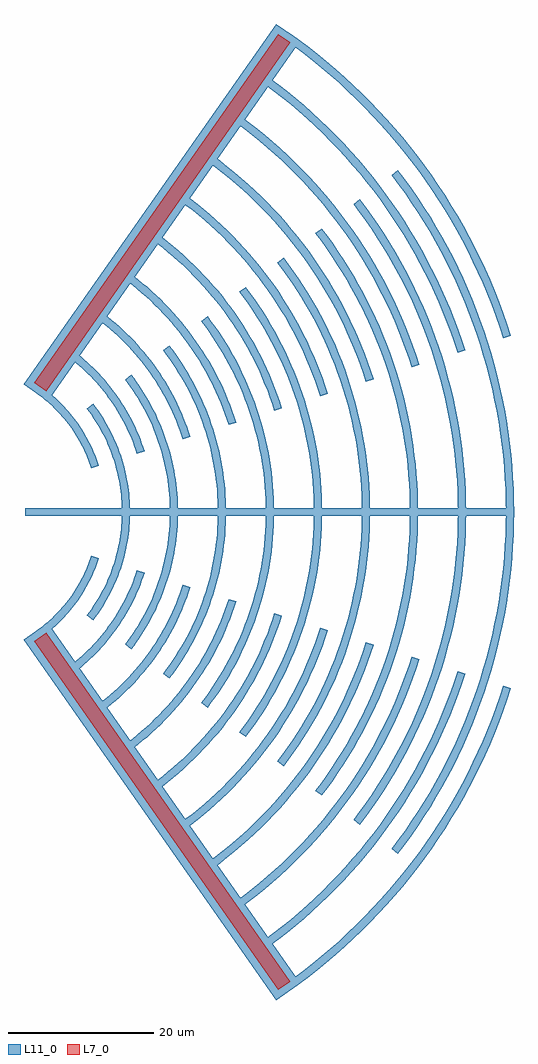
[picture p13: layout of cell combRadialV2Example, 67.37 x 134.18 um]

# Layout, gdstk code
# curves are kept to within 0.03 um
import gdstk
lib = gdstk.Library(unit=1e-6, precision=1e-09)
def R(c, l, rs):  # rectangles x0, y0, x1, y1
    for r in rs: c.add(gdstk.rectangle(r[:2], r[2:], *l))
def P(c, l, *ps):  # polygons
    for p in ps: c.add(gdstk.Polygon(p, *l))
L7_0 = (7, 0)
L11_0 = (11, 0)

combradialv2example = lib.new_cell('combRadialV2Example')
P(combradialv2example, L7_0, [(12.864,16.629),(11.226,17.775),(44.78,65.696),(46.419,64.549)],
  [(44.78,-65.696),(11.226,-17.775),(12.864,-16.629),(46.419,-64.549)])
R(combradialv2example, L11_0, [(10,-0.5,77.2,0.5), (10,-0.5,77.2,0.5)])
P(combradialv2example, L11_0, [(13.11,15.236),(9.833,17.53),(44.534,67.088),(47.812,64.795)],
  [(44.534,-67.088),(9.833,-17.53),(13.11,-15.236),(47.812,-64.795)],
  [(23.3,0),(23.222,1.904),(22.989,3.795),(22.602,5.661),(22.063,7.49),(21.378,9.268),(20.549,10.984),(19.582,12.626),(18.485,14.184),(19.358,14.854),(20.507,13.222),(21.031,12.372),(21.75,11.06),(22.184,10.161),(22.765,8.781),(23.261,7.369),(23.543,6.412),(23.988,4.466),(24.217,2.987),(24.354,1.496),(24.4,0)],
  [(19.074,6.014),(18.519,7.553),(17.84,9.041),(17.041,10.469),(16.129,11.826),(15.108,13.105),(13.987,14.296),(12.772,15.391),(11.472,16.383),(12.102,17.284),(13.804,15.958),(15.361,14.466),(16.757,12.822),(17.979,11.044),(18.622,9.921),(19.195,8.76),(19.696,7.567),(20.123,6.345)],
  [(29.9,0),(29.844,1.833),(29.594,4.266),(29.277,6.073),(28.849,7.857),(28.111,10.188),(27.671,11.329),(26.924,13.005),(26.076,14.631),(25.456,15.685),(24.446,17.217),(23.721,18.202),(24.594,18.872),(26.054,16.799),(26.719,15.719),(27.633,14.051),(28.184,12.909),(28.923,11.157),(29.355,9.965),(29.911,8.146),(30.354,6.296),(30.767,3.795),(30.942,1.901),(31,0)],
  [(25.369,7.999),(24.63,10.045),(23.727,12.024),(22.665,13.923),(21.451,15.729),(20.094,17.429),(18.603,19.013),(16.987,20.47),(15.257,21.789),(15.888,22.691),(17.25,21.674),(18.121,20.95),(18.963,20.191),(20.166,18.991),(21.292,17.718),(21.999,16.833),(23.301,14.979),(24.176,13.522),(25.2,11.501),(25.857,9.934),(26.418,8.33)],
  [(36.5,0),(36.469,1.493),(36.378,2.983),(36.127,5.208),(35.883,6.681),(35.58,8.143),(35.014,10.309),(34.563,11.733),(34.054,13.136),(33.489,14.518),(32.535,16.544),(31.832,17.861),(31.074,19.148),(29.842,21.017),(28.957,22.22),(29.83,22.889),(31.178,21.017),(32.011,19.725),(32.791,18.399),(33.516,17.043),(34.185,15.658),(35.081,13.532),(35.605,12.086),(36.069,10.62),(36.652,8.388),(37.098,6.125),(37.404,3.838),(37.569,1.538),(37.6,0)],
  [(43.1,0),(43.064,1.763),(42.956,3.522),(42.659,6.15),(42.202,8.754),(41.808,10.472),(41.345,12.173),(40.813,13.854),(40.212,15.511),(39.544,17.143),(38.418,19.536),(37.148,21.855),(36.223,23.356),(35.238,24.817),(34.194,26.238),(35.066,26.907),(36.137,25.451),(37.148,23.952),(38.547,21.629),(39.399,20.034),(40.185,18.406),(41.238,15.907),(41.854,14.208),(42.4,12.484),(43.086,9.861),(43.61,7.2),(43.868,5.411),(44.117,2.71),(44.2,0)],
  [(31.663,9.983),(30.742,12.538),(29.915,14.399),(28.638,16.796),(27.554,18.52),(25.949,20.71),(25.08,21.754),(23.699,23.251),(22.728,24.201),(21.202,25.549),(19.043,27.196),(19.674,28.097),(21.36,26.838),(22.439,25.942),(24.484,24.021),(26.365,21.94),(27.661,20.282),(28.467,19.134),(29.936,16.743),(30.906,14.876),(31.76,12.953),(32.495,10.981),(32.712,10.314)],
  [(49.7,0),(49.658,2.032),(49.534,4.062),(49.191,7.091),(48.664,10.094),(48.211,12.076),(47.676,14.038),(47.062,15.976),(46.37,17.887),(45.186,20.697),(44.301,22.527),(42.837,25.201),(41.77,26.932),(40.634,28.618),(39.43,30.255),(40.302,30.925),(41.533,29.251),(42.695,27.528),(43.785,25.759),(45.282,23.026),(46.609,20.206),(47.396,18.283),(48.104,16.329),(48.732,14.348),(49.278,12.343),(49.942,9.298),(50.418,6.218),(50.704,3.115),(50.8,0)],
  [(37.958,11.968),(37.153,14.273),(36.538,15.781),(35.862,17.262),(35.126,18.714),(34.331,20.135),(33.032,22.202),(31.608,24.186),(30.593,25.458),(29.526,26.688),(28.41,27.873),(26.648,29.563),(25.416,30.628),(24.143,31.641),(22.828,32.602),(23.459,33.503),(24.81,32.516),(26.119,31.474),(27.384,30.38),(29.195,28.643),(30.897,26.799),(31.967,25.513),(32.984,24.185),(33.945,22.815),(35.28,20.691),(36.483,18.489),(37.548,16.217),(38.471,13.884),(39.007,12.299)],
  [(56.3,0),(56.253,2.302),(56.112,4.601),(55.724,8.033),(55.349,10.305),(54.881,12.56),(54.322,14.794),(53.671,17.003),(52.931,19.184),(52.102,21.332),(51.186,23.445),(50.185,25.519),(49.099,27.55),(47.317,30.508),(46.03,32.418),(44.666,34.273),(45.538,34.943),(46.929,33.051),(48.242,31.105),(50.058,28.088),(51.165,26.017),(52.186,23.903),(53.12,21.749),(53.965,19.558),(54.72,17.335),(55.68,13.947),(56.204,11.658),(56.813,8.19),(57.208,4.691),(57.352,2.347),(57.4,0)],
  [(44.252,13.953),(43.314,16.64),(42.597,18.397),(41.809,20.124),(40.496,22.65),(39.536,24.287),(38.51,25.884),(37.419,27.437),(36.266,28.944),(35.052,30.403),(33.121,32.495),(31.765,33.822),(29.631,35.707),(28.146,36.888),(26.614,38.009),(27.245,38.91),(29.58,37.166),(31.075,35.925),(32.518,34.624),(33.907,33.265),(35.239,31.851),(36.512,30.383),(37.724,28.865),(39.423,26.497),(40.973,24.03),(42.37,21.472),(43.607,18.834),(44.34,17.035),(45.302,14.284)],
  [(62.9,0),(62.847,2.572),(62.69,5.14),(62.427,7.7),(62.06,10.246),(61.315,14.032),(60.69,16.528),(59.963,18.996),(59.136,21.432),(58.21,23.833),(57.187,26.193),(56.068,28.51),(54.855,30.779),(53.55,32.997),(52.156,35.159),(49.902,38.291),(50.775,38.961),(53.068,35.774),(54.487,33.574),(55.814,31.317),(57.048,29.009),(58.187,26.651),(59.228,24.25),(60.17,21.807),(61.012,19.328),(62.082,15.551),(62.666,12.999),(63.145,10.425),(63.666,6.534),(63.88,3.925),(64,0)],
  [(69.5,0),(69.442,2.842),(69.268,5.68),(68.977,8.508),(68.572,11.321),(68.051,14.116),(67.417,16.887),(66.255,20.989),(64.843,25.013),(63.766,27.644),(62.582,30.228),(61.294,32.762),(59.902,35.241),(58.411,37.661),(56.822,40.019),(55.138,42.309),(56.011,42.979),(57.721,40.652),(59.336,38.258),(60.851,35.799),(62.264,33.281),(63.573,30.707),(65.336,26.75),(66.375,24.056),(67.303,21.322),(68.119,18.551),(68.821,15.75),(69.128,14.339),(69.878,10.073),(70.231,7.207),(70.541,2.887),(70.6,0)],
  [(50.547,15.937),(49.853,17.991),(49.076,20.015),(47.756,22.987),(46.776,24.92),(45.718,26.812),(44.583,28.659),(43.374,30.459),(42.092,32.207),(40.038,34.727),(38.584,36.336),(37.066,37.883),(35.485,39.367),(33.846,40.786),(32.15,42.136),(30.4,43.415),(31.03,44.316),(32.817,43.01),(34.548,41.632),(36.222,40.184),(38.618,37.888),(40.135,36.277),(41.585,34.605),(42.965,32.875),(44.274,31.091),(46.097,28.317),(47.747,25.437),(49.217,22.462),(50.094,20.43),(50.888,18.365),(51.596,16.268)],
  [(76.1,0),(76.036,3.112),(75.845,6.219),(75.528,9.315),(75.084,12.396),(74.514,15.456),(74.182,16.977),(73.426,19.997),(72.547,22.983),(71.546,25.93),(70.426,28.834),(69.188,31.69),(67.834,34.493),(66.367,37.238),(65.591,38.588),(63.958,41.238),(62.218,43.819),(60.374,46.327),(61.247,46.996),(63.118,44.452),(64.883,41.834),(66.539,39.146),(68.084,36.392),(69.516,33.577),(70.831,30.706),(72.027,27.784),(73.103,24.815),(73.595,23.315),(74.487,20.286),(75.254,17.223),(75.591,15.68),(76.169,12.576),(76.41,11.015),(76.797,7.881),(77.055,4.734),(77.184,1.579),(77.2,0)],
  [(56.842,17.922),(55.636,21.374),(54.715,23.631),(53.703,25.849),(52.601,28.024),(51.411,30.151),(50.135,32.228),(48.775,34.252),(47.333,36.218),(45.813,38.123),(43.389,40.861),(41.681,42.601),(39.904,44.27),(38.061,45.865),(36.153,47.383),(34.185,48.821),(34.816,49.723),(36.82,48.257),(38.763,46.711),(40.641,45.087),(42.451,43.387),(44.189,41.615),(46.658,38.827),(48.207,36.886),(49.675,34.884),(51.721,31.772),(52.977,29.63),(54.694,26.326),(55.725,24.067),(57.096,20.605),(57.891,18.253)],
  [(63.136,19.907),(61.797,23.741),(60.774,26.248),(59.65,28.711),(58.426,31.127),(57.104,33.49),(55.687,35.797),(54.176,38.045),(52.575,40.228),(50.886,42.345),(49.112,44.39),(47.255,46.362),(45.32,48.255),(43.308,50.068),(40.157,52.63),(37.971,54.228),(38.602,55.129),(40.824,53.504),(42.978,51.79),(45.06,49.989),(47.066,48.105),(48.994,46.14),(50.84,44.097),(52.601,41.981),(55.076,38.677),(56.612,36.392),(58.737,32.852),(60.641,29.189),(61.784,26.684),(63.304,22.845),(64.185,20.238)],
  [(69.431,21.891),(67.958,26.108),(66.833,28.865),(65.597,31.574),(64.251,34.23),(62.797,36.829),(61.238,39.366),(59.577,41.838),(58.709,43.047),(56.9,45.412),(54.995,47.701),(52.998,49.91),(50.913,52.036),(48.742,54.074),(46.49,56.022),(44.16,57.877),(41.756,59.634),(42.387,60.535),(44.827,58.751),(47.193,56.869),(48.346,55.892),(50.591,53.868),(52.752,51.754),(54.824,49.553),(56.805,47.27),(58.69,44.907),(60.477,42.47),(62.164,39.961),(63.746,37.385),(64.497,36.074),(65.221,34.747),(66.588,32.051),(67.843,29.301),(68.428,27.908),(69.512,25.086),(70.48,22.222)],
  [(75.725,23.876),(75.221,25.42),(74.119,28.475),(72.892,31.482),(71.544,34.436),(70.076,37.333),(68.49,40.168),(66.79,42.935),(64.979,45.631),(63.058,48.25),(61.032,50.788),(58.904,53.242),(56.678,55.606),(54.356,57.877),(51.944,60.052),(49.445,62.126),(46.863,64.096),(45.542,65.041),(46.173,65.942),(48.831,63.998),(51.407,61.948),(53.898,59.794),(56.298,57.54),(58.604,55.189),(60.812,52.746),(61.878,51.492),(63.932,48.918),(65.879,46.263),(67.716,43.53),(68.592,42.136),(70.257,39.296),(71.806,36.39),(73.234,33.423),(73.902,31.918),(74.539,30.4),(75.72,27.326),(76.774,24.207)],
  [(46.173,-65.942),(45.542,-65.041),(48.164,-63.124),(50.705,-61.101),(53.161,-58.977),(55.529,-56.753),(57.803,-54.435),(59.981,-52.026),(62.058,-49.529),(64.032,-46.95),(65.898,-44.292),(67.654,-41.56),(69.297,-38.759),(70.824,-35.892),(72.233,-32.966),(73.521,-29.985),(74.685,-26.953),(75.725,-23.876),(76.774,-24.207),(75.72,-27.326),(74.539,-30.4),(73.234,-33.423),(71.806,-36.39),(70.257,-39.296),(68.592,-42.136),(66.811,-44.906),(64.919,-47.6),(62.918,-50.215),(60.812,-52.746),(58.604,-55.189),(56.298,-57.54),(53.898,-59.794),(51.407,-61.948),(48.831,-63.998)],
  [(42.387,-60.535),(41.756,-59.634),(44.16,-57.877),(46.49,-56.022),(48.742,-54.074),(50.913,-52.036),(52.998,-49.91),(54.995,-47.701),(56.9,-45.412),(58.709,-43.047),(60.42,-40.61),(62.031,-38.106),(63.537,-35.537),(64.937,-32.909),(66.229,-30.226),(67.409,-27.492),(68.477,-24.712),(69.431,-21.891),(70.48,-22.222),(69.512,-25.086),(68.428,-27.908),(67.229,-30.683),(65.918,-33.406),(64.497,-36.074),(62.968,-38.681),(61.333,-41.224),(59.596,-43.698),(57.759,-46.098),(55.826,-48.422),(53.799,-50.664),(51.682,-52.822),(49.479,-54.891),(47.193,-56.869),(44.827,-58.751)],
  [(38.602,-55.129),(37.971,-54.228),(40.157,-52.63),(42.275,-50.943),(44.323,-49.172),(46.297,-47.318),(48.193,-45.385),(50.009,-43.377),(51.741,-41.295),(53.387,-39.145),(54.943,-36.929),(56.407,-34.651),(57.777,-32.315),(59.05,-29.925),(60.224,-27.486),(61.298,-25),(62.269,-22.472),(63.136,-19.907),(64.185,-20.238),(63.304,-22.845),(62.317,-25.415),(61.225,-27.942),(60.031,-30.423),(58.737,-32.852),(57.344,-35.227),(55.856,-37.542),(54.274,-39.795),(52.601,-41.981),(50.84,-44.097),(48.994,-46.14),(47.066,-48.105),(45.06,-49.989),(42.978,-51.79),(40.824,-53.504)],
  [(34.816,-49.723),(34.185,-48.821),(36.153,-47.383),(38.061,-45.865),(39.904,-44.27),(41.681,-42.601),(43.389,-40.861),(45.023,-39.052),(46.583,-37.178),(48.064,-35.242),(49.465,-33.247),(50.783,-31.196),(52.017,-29.093),(53.163,-26.942),(54.22,-24.745),(55.187,-22.507),(56.061,-20.232),(56.842,-17.922),(57.891,-18.253),(57.096,-20.605),(56.205,-22.923),(55.221,-25.202),(54.144,-27.439),(52.977,-29.63),(51.721,-31.772),(50.378,-33.861),(48.951,-35.892),(47.442,-37.864),(45.854,-39.773),(44.189,-41.615),(42.451,-43.387),(40.641,-45.087),(38.763,-46.711),(36.82,-48.257)],
  [(31.03,-44.316),(30.4,-43.415),(32.15,-42.136),(33.846,-40.786),(35.485,-39.367),(37.066,-37.883),(38.584,-36.336),(40.038,-34.727),(41.424,-33.061),(42.742,-31.339),(43.987,-29.565),(45.16,-27.742),(46.256,-25.872),(47.276,-23.958),(48.216,-22.005),(49.076,-20.015),(49.853,-17.991),(50.547,-15.937),(51.596,-16.268),(50.888,-18.365),(50.094,-20.43),(49.217,-22.462),(48.257,-24.456),(47.216,-26.409),(46.097,-28.317),(44.9,-30.179),(43.629,-31.99),(42.284,-33.747),(40.868,-35.448),(39.385,-37.09),(37.835,-38.669),(36.222,-40.184),(34.548,-41.632),(32.817,-43.01)],
  [(27.245,-38.91),(26.614,-38.009),(28.146,-36.888),(29.631,-35.707),(31.066,-34.465),(32.45,-33.166),(33.779,-31.811),(35.052,-30.403),(36.266,-28.944),(37.419,-27.437),(38.51,-25.884),(39.536,-24.287),(40.496,-22.65),(41.389,-20.975),(42.212,-19.265),(42.964,-17.522),(43.645,-15.751),(44.252,-13.953),(45.302,-14.284),(44.68,-16.124),(43.983,-17.938),(43.212,-19.722),(42.37,-21.472),(41.456,-23.187),(40.473,-24.863),(39.423,-26.497),(38.306,-28.087),(37.125,-29.63),(35.883,-31.124),(34.58,-32.565),(33.219,-33.952),(31.803,-35.282),(30.333,-36.553),(28.813,-37.763)],
  [(23.459,-33.503),(22.828,-32.602),(24.143,-31.641),(25.416,-30.628),(26.648,-29.563),(27.834,-28.448),(28.974,-27.286),(30.066,-26.078),(31.107,-24.827),(32.096,-23.534),(33.032,-22.202),(33.912,-20.832),(34.736,-19.428),(35.501,-17.991),(36.207,-16.525),(36.853,-15.03),(37.437,-13.51),(37.958,-11.968),(39.007,-12.299),(38.471,-13.884),(37.871,-15.445),(37.208,-16.981),(36.483,-18.489),(35.696,-19.965),(34.85,-21.408),(33.945,-22.815),(32.984,-24.185),(31.967,-25.513),(30.897,-26.799),(29.775,-28.04),(28.603,-29.234),(27.384,-30.38),(26.119,-31.474),(24.81,-32.516)],
  [(19.674,-28.097),(19.043,-27.196),(21.202,-25.549),(22.728,-24.201),(23.699,-23.251),(25.08,-21.754),(25.949,-20.71),(27.554,-18.52),(28.638,-16.796),(29.915,-14.399),(30.742,-12.538),(31.663,-9.983),(32.712,-10.314),(31.76,-12.953),(30.595,-15.505),(29.226,-17.954),(27.661,-20.282),(25.911,-22.475),(23.988,-24.517),(21.904,-26.395)],
  [(15.888,-22.691),(15.257,-21.789),(16.987,-20.47),(18.603,-19.013),(20.094,-17.429),(21.451,-15.729),(22.665,-13.923),(23.727,-12.024),(24.63,-10.045),(25.369,-7.999),(26.418,-8.33),(25.649,-10.461),(24.708,-12.522),(23.602,-14.499),(22.339,-16.379),(20.925,-18.15),(19.372,-19.799),(17.689,-21.316)],
  [(12.102,-17.284),(11.472,-16.383),(12.772,-15.391),(13.987,-14.296),(15.108,-13.105),(16.129,-11.826),(17.041,-10.469),(17.84,-9.041),(18.519,-7.553),(19.074,-6.014),(20.123,-6.345),(19.538,-7.968),(18.821,-9.538),(17.979,-11.044),(17.016,-12.477),(15.939,-13.825),(14.756,-15.082),(13.474,-16.237)],
  [(19.358,-14.854),(18.485,-14.184),(19.582,-12.626),(20.549,-10.984),(21.378,-9.268),(22.063,-7.49),(22.602,-5.661),(22.989,-3.795),(23.222,-1.904),(23.3,0),(24.4,0),(24.318,-1.994),(24.074,-3.975),(23.669,-5.929),(23.105,-7.843),(22.387,-9.705),(21.519,-11.502),(20.507,-13.222)],
  [(24.594,-18.872),(23.721,-18.202),(24.793,-16.713),(26.076,-14.631),(26.924,-13.005),(27.671,-11.329),(28.111,-10.188),(28.683,-8.445),(29.277,-6.073),(29.501,-4.871),(29.744,-3.052),(29.844,-1.833),(29.9,0),(31,0),(30.896,-2.533),(30.586,-5.05),(30.071,-7.532),(29.355,-9.965),(28.442,-12.33),(27.34,-14.613),(26.054,-16.799)],
  [(29.83,-22.889),(28.957,-22.22),(29.842,-21.017),(30.676,-19.779),(31.832,-17.861),(33.185,-15.2),(34.054,-13.136),(34.563,-11.733),(35.014,-10.309),(35.58,-8.143),(35.883,-6.681),(36.127,-5.208),(36.378,-2.983),(36.469,-1.493),(36.5,0),(37.6,0),(37.569,-1.538),(37.474,-3.073),(37.317,-4.603),(37.098,-6.125),(36.816,-7.637),(36.473,-9.136),(36.069,-10.62),(35.605,-12.086),(35.081,-13.532),(34.498,-14.955),(33.857,-16.354),(33.16,-17.725),(32.408,-19.066),(31.601,-20.375),(30.741,-21.65)],
  [(35.066,-26.907),(34.194,-26.238),(35.238,-24.817),(36.223,-23.356),(37.148,-21.855),(38.011,-20.317),(38.81,-18.746),(39.544,-17.143),(40.212,-15.511),(40.813,-13.854),(41.345,-12.173),(41.808,-10.472),(42.202,-8.754),(42.524,-7.021),(42.776,-5.276),(42.956,-3.522),(43.064,-1.763),(43.1,0),(44.2,0),(44.163,-1.808),(44.052,-3.612),(43.868,-5.411),(43.61,-7.2),(43.279,-8.977),(42.875,-10.74),(42.4,-12.484),(41.854,-14.208),(41.238,-15.907),(40.553,-17.58),(39.8,-19.224),(38.981,-20.836),(38.096,-22.412),(37.148,-23.952),(36.137,-25.451)],
  [(40.302,-30.925),(39.43,-30.255),(40.634,-28.618),(41.77,-26.932),(42.837,-25.201),(43.831,-23.428),(44.753,-21.616),(45.599,-19.768),(46.37,-17.887),(47.062,-15.976),(47.676,-14.038),(48.211,-12.076),(48.664,-10.094),(49.036,-8.096),(49.326,-6.084),(49.534,-4.062),(49.658,-2.032),(49.7,0),(50.8,0),(50.758,-2.077),(50.63,-4.151),(50.418,-6.218),(50.121,-8.275),(49.741,-10.318),(49.278,-12.343),(48.732,-14.348),(48.104,-16.329),(47.396,-18.283),(46.609,-20.206),(45.743,-22.095),(44.802,-23.947),(43.785,-25.759),(42.695,-27.528),(41.533,-29.251)],
  [(45.538,-34.943),(44.666,-34.273),(46.03,-32.418),(47.317,-30.508),(48.525,-28.548),(49.652,-26.54),(50.696,-24.487),(51.655,-22.393),(52.527,-20.262),(53.312,-18.097),(54.008,-15.902),(54.613,-13.68),(55.127,-11.435),(55.548,-9.171),(55.877,-6.892),(56.112,-4.601),(56.253,-2.302),(56.3,0),(57.4,0),(57.352,-2.347),(57.208,-4.691),(56.968,-7.026),(56.633,-9.35),(56.204,-11.658),(55.68,-13.947),(55.063,-16.212),(54.354,-18.451),(53.554,-20.658),(52.664,-22.831),(51.686,-24.965),(50.622,-27.058),(49.473,-29.106),(48.242,-31.105),(46.929,-33.051)],
  [(50.775,-38.961),(49.902,-38.291),(51.426,-36.218),(52.864,-34.085),(54.214,-31.895),(55.473,-29.651),(56.639,-27.358),(57.71,-25.018),(58.685,-22.637),(59.562,-20.219),(60.339,-17.766),(61.015,-15.283),(61.589,-12.775),(62.06,-10.246),(62.427,-7.7),(62.69,-5.14),(62.847,-2.572),(62.9,0),(64,0),(63.946,-2.617),(63.786,-5.23),(63.519,-7.834),(63.145,-10.425),(62.666,-12.999),(62.082,-15.551),(61.394,-18.077),(60.604,-20.572),(59.712,-23.033),(58.72,-25.456),(57.63,-27.836),(56.443,-30.169),(55.162,-32.452),(53.789,-34.681),(52.325,-36.852)],
  [(56.011,-42.979),(55.138,-42.309),(56.822,-40.019),(58.411,-37.661),(59.902,-35.241),(61.294,-32.762),(62.582,-30.228),(63.766,-27.644),(64.843,-25.013),(65.812,-22.34),(66.67,-19.63),(67.417,-16.887),(68.051,-14.116),(68.572,-11.321),(68.977,-8.508),(69.268,-5.68),(69.442,-2.842),(69.5,0),(70.6,0),(70.541,-2.887),(70.364,-5.77),(70.069,-8.642),(69.657,-11.5),(69.128,-14.339),(68.484,-17.154),(67.725,-19.941),(66.853,-22.694),(65.869,-25.409),(64.775,-28.081),(63.573,-30.707),(62.264,-33.281),(60.851,-35.799),(59.336,-38.258),(57.721,-40.652)],
  [(61.247,-46.996),(60.374,-46.327),(62.218,-43.819),(63.958,-41.238),(65.591,-38.588),(67.114,-35.873),(68.525,-33.099),(69.821,-30.269),(71.001,-27.388),(72.061,-24.462),(73.001,-21.494),(73.819,-18.491),(74.514,-15.456),(75.084,-12.396),(75.528,-9.315),(75.845,-6.219),(76.036,-3.112),(76.1,0),(77.2,0),(77.135,-3.157),(76.942,-6.309),(76.619,-9.45),(76.169,-12.576),(75.591,-15.68),(74.886,-18.758),(74.057,-21.805),(73.103,-24.815),(72.027,-27.784),(70.831,-30.706),(69.516,-33.577),(68.084,-36.392),(66.539,-39.146),(64.883,-41.834),(63.118,-44.452)])

lib.write_gds('combRadialV2Example.gds')
